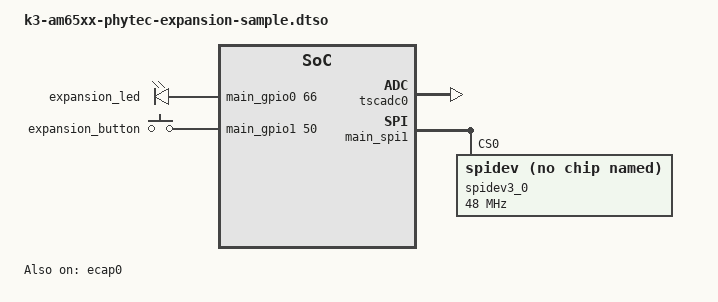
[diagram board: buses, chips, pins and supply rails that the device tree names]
// SPDX-License-Identifier: GPL-2.0
/*
 * Copyright (C) 2019 PHYTEC America, LLC - https://www.phytec.com
 *
 *
 * Sample Device Tree Overlay for use with PHYTEC Expansion Board PCM-957.
 * Conflicts with overlay for LCD-018, k3-am65xx-phytec-lcd-018.dtso
 *
 */

/dts-v1/;
/plugin/;

#include <dt-bindings/gpio/gpio.h>
#include <dt-bindings/pinctrl/k3.h>

/* GPIO LED and Button examples */

/ {
	fragment@101 {
		target-path = "/";

		__overlay__ {
			phytec_leds: leds {
				compatible = "gpio-leds";
				pinctrl-names = "default";
				pinctrl-0 = <&led_pins_default>;
				status = "okay";

				led@0 {
					label = "expansion_led";
					gpios = <&main_gpio0 66 GPIO_ACTIVE_HIGH>;
					linux,default-trigger = "gpio";
					default-state = "on";
				};
			};

			phytec_buttons: gpio-keys {
				compatible = "gpio-keys";
				pinctrl-names = "default";
				pinctrl-0 = <&button_pins_default>;
				status = "okay";

				userbtn@0 {
					label = "expansion_button";
					gpios = <&main_gpio1 50 GPIO_ACTIVE_HIGH>;
					linux,code = <0x100>;	/* BTN_MISC */
				};
			};
		};
	};
};

&main_pmx0 {
	led_pins_default: led_pins_default {
		pinctrl-single,pins = <
			AM65X_IOPAD(0x0108, PIN_OUTPUT, 7)	/* (AH25) PRG1_PRU0GPO10.GPIO0_66 */
		>;
	};

	button_pins_default: button_pins_default {
		pinctrl-single,pins = <
			AM65X_IOPAD(0x0248, PIN_INPUT, 7)	/* (AC28) PRG0_PRU1GPO1.GPIO1_50 */
		>;
	};
};

/* General purpose PWM (Conflicts with backlight on LCD-018) */
&ecap0 {
	status = "okay";
};

/* adc */
&tscadc0 {
	status = "okay";

	adc {
		ti,adc-channels = <0 1 2 3>;
	};
};

/* spidev */
&main_spi1 {
	status = "okay";
	#address-cells = <1>;
	#size-cells = <0>;

	/* main_spi1 enumerates as spi3 */
	spidev3_0: spidev3@0 {
		compatible =  "spidev";

		reg = <0>;
		spi-max-frequency = <48000000>;
	};
};
